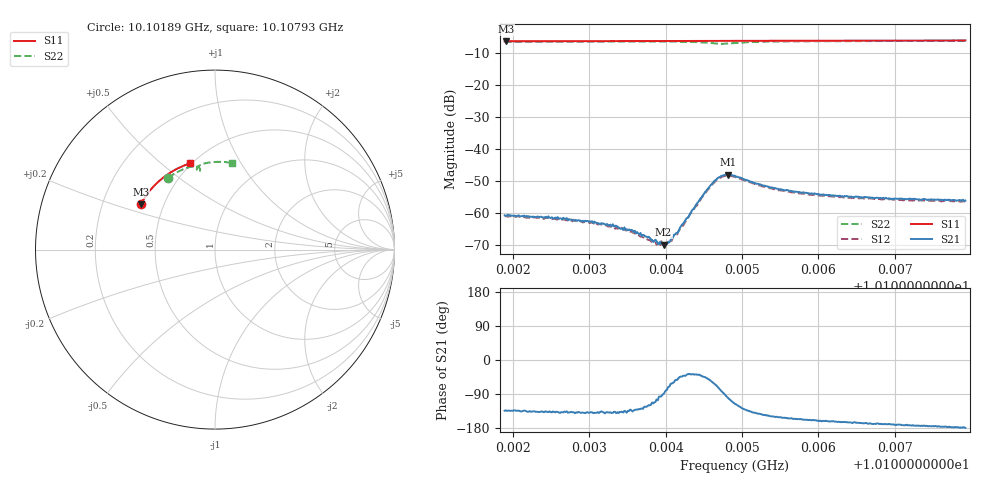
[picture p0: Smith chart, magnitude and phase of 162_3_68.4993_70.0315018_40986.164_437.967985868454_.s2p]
#  HZ  S  RI  R  50.00
! Rohde & Schwarz Vector Network Analyzer
! Rohde-Schwarz,ZNB20-2Port,1311601062101988,3.16
! Created: UTC 3/20/2024, 4:55:51 PM
! freq[Hz]  re:S11  im:S11  re:S21  im:S21  re:S12  im:S12  re:S22  im:S22
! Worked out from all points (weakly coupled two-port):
!   401 points, 10.10189 GHz to 10.10793 GHz, reference 50 ohm
!   highest |S21| = -48.07 dB at 10.10482 GHz (marker M1); lowest = -70.0 dB at 10.10397 GHz (marker M2)
!   lowest |S11| = -6.3 dB at 10.10191 GHz (marker M3), VSWR 2.88, Z = 18.5 + j12.3 ohm
!   |S11| at or under -10 dB: nowhere
!   |S22| runs from -7.1 to -6.2 dB; largest |S21 - S12| = 0.00041
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1.010189e10  -0.414 0.2527  -0.000627 -0.000651  -0.000555 -0.000684  -0.2607 0.3999
1.0101905e10  -0.4135 0.2534  -0.000605 -0.000655  -0.00056 -0.00068  -0.2598 0.4005
1.0102449e10  -0.3966 0.2819  -0.000606 -0.000567  -0.000561 -0.000601  -0.2303 0.42
1.0102901e10  -0.3812 0.3046  -0.000553 -0.000485  -0.000493 -0.000523  -0.2041 0.4346
1.0103188e10  -0.3706 0.3186  -0.000502 -0.000444  -0.000468 -0.000471  -0.1866 0.4429
1.0103566e10  -0.3561 0.3362  -0.000378 -0.000367  -0.000313 -0.00037  -0.1627 0.4529
1.0103852e10  -0.3446 0.3493  -0.000131 -0.000333  -7.25e-05 -0.000322  -0.1431 0.4593
1.0103913e10  -0.342 0.3522  -3.67e-05 -0.000317  -4.27e-05 -0.000331  -0.1387 0.4604
1.0103973e10  -0.3396 0.3547  -9.65e-07 -0.000315  4.31e-05 -0.000331  -0.1342 0.4616
1.0104018e10  -0.3377 0.3567  6.28e-05 -0.000315  9.4e-05 -0.00033  -0.1307 0.4622
1.0104049e10  -0.3363 0.358  0.000116 -0.000322  0.000164 -0.000313  -0.1283 0.4626
1.0104154e10  -0.3319 0.3625  0.000295 -0.000379  0.000326 -0.000321  -0.1199 0.4638
1.0104486e10  -0.3173 0.3764  0.00135 -0.00129  0.0014 -0.00112  -0.0896 0.4575
1.0104607e10  -0.3118 0.3813  0.0015 -0.00237  0.00166 -0.00216  -0.0828 0.4464
1.0104713e10  -0.3069 0.3854  0.000763 -0.00356  0.00105 -0.00335  -0.087 0.4359
1.0104818e10  -0.3023 0.3895  -0.00071 -0.00388  -0.000305 -0.0038  -0.0978 0.4372
1.0104909e10  -0.2982 0.3932  -0.00163 -0.00339  -0.00128 -0.0034  -0.1017 0.4458
1.0105181e10  -0.2852 0.4034  -0.0022 -0.00186  -0.00197 -0.00196  -0.0879 0.4676
1.0105437e10  -0.2729 0.4128  -0.00209 -0.00119  -0.00188 -0.00133  -0.069 0.4769
1.010592e10  -0.2485 0.4292  -0.00186 -0.00072  -0.0017 -0.000818  -0.0347 0.4849
1.0106932e10  -0.1949 0.4586  -0.00165 -0.00032  -0.00155 -0.000439  0.0329 0.4887
1.0107928e10  -0.1389 0.4807  -0.00155 -2.16e-05  -0.00147 -0.000185  0.0969 0.4828
